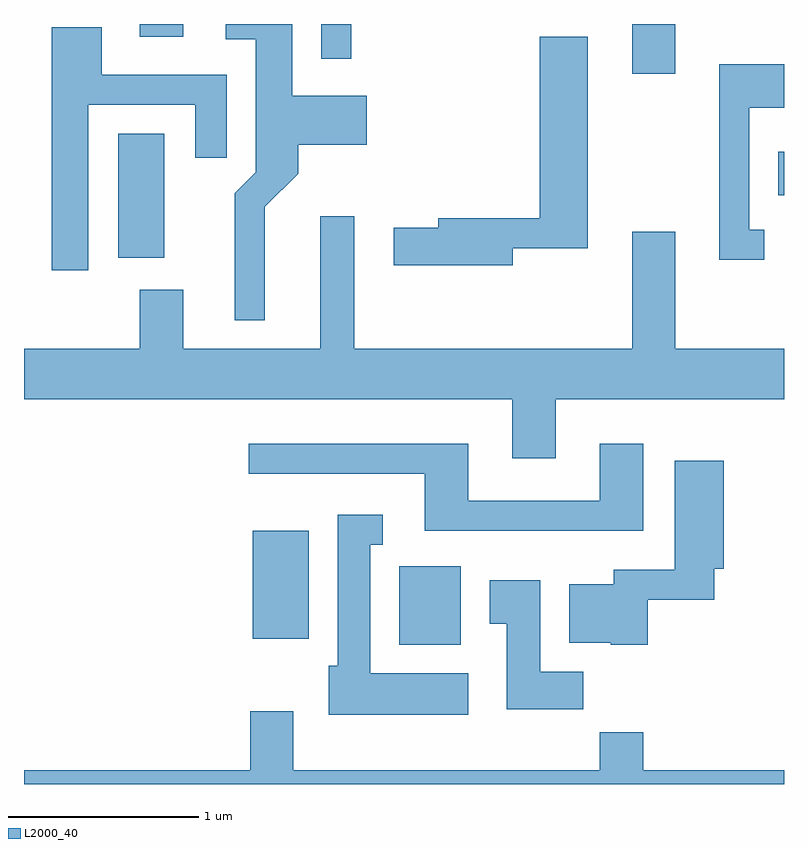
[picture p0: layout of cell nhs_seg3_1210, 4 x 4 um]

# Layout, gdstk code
import gdstk
lib = gdstk.Library(unit=1e-6, precision=1e-09)
def R(c, l, rs):  # rectangles x0, y0, x1, y1
    for r in rs: c.add(gdstk.rectangle(r[:2], r[2:], *l))
def P(c, l, *ps):  # polygons
    for p in ps: c.add(gdstk.Polygon(p, *l))
L2000_40 = (2000, 40)

nhs_seg3_1210 = lib.new_cell('nhs_seg3_1210')
R(nhs_seg3_1210, L2000_40, [(221.586,1224.626,221.909,1225.039), (220.816,1224.656,221.109,1225.224), (220.106,1226.661,220.349,1227.314), (223.581,1226.991,223.611,1227.219), (222.811,1227.631,223.039,1227.892), (221.176,1227.708,221.334,1227.892), (220.221,1227.826,220.449,1227.892)])
P(nhs_seg3_1210, L2000_40, [(220.879,1226.929),(221.054,1227.104),(221.054,1227.256),(221.414,1227.256),(221.414,1227.514),(221.024,1227.514),(221.024,1227.892),(220.673,1227.892),(220.673,1227.811),(220.831,1227.811),(220.831,1227.112),(220.721,1227.002),(220.721,1226.333),(220.879,1226.333)],
  [(219.949,1227.466),(220.511,1227.466),(220.511,1227.188),(220.679,1227.188),(220.679,1227.624),(220.019,1227.624),(220.019,1227.874),(219.756,1227.874),(219.756,1226.596),(219.949,1226.596)],
  [(222.184,1226.711),(222.579,1226.711),(222.579,1227.824),(222.326,1227.824),(222.326,1226.869),(221.791,1226.869),(221.791,1226.819),(221.556,1226.819),(221.556,1226.621),(222.184,1226.621)],
  [(223.508,1226.809),(223.429,1226.809),(223.429,1227.451),(223.611,1227.451),(223.611,1227.679),(223.271,1227.679),(223.271,1226.651),(223.508,1226.651)],
  [(222.409,1225.916),(223.611,1225.916),(223.611,1226.184),(223.039,1226.184),(223.039,1226.799),(222.811,1226.799),(222.811,1226.184),(221.349,1226.184),(221.349,1226.879),(221.171,1226.879),(221.171,1226.184),(220.449,1226.184),(220.449,1226.494),(220.221,1226.494),(220.221,1226.184),(219.611,1226.184),(219.611,1225.916),(222.181,1225.916),(222.181,1225.606),(222.409,1225.606)],
  [(222.869,1225.684),(222.641,1225.684),(222.641,1225.384),(221.949,1225.384),(221.949,1225.684),(220.793,1225.684),(220.793,1225.526),(221.721,1225.526),(221.721,1225.226),(222.869,1225.226)],
  [(222.894,1224.861),(223.244,1224.861),(223.244,1225.026),(223.294,1225.026),(223.294,1225.594),(223.036,1225.594),(223.036,1225.019),(222.716,1225.019),(222.716,1224.944),(222.481,1224.944),(222.481,1224.636),(222.7,1224.636),(222.7,1224.626),(222.894,1224.626)],
  [(221.949,1224.474),(221.434,1224.474),(221.434,1225.151),(221.498,1225.151),(221.498,1225.309),(221.261,1225.309),(221.261,1224.514),(221.216,1224.514),(221.216,1224.256),(221.949,1224.256)],
  [(222.554,1224.484),(222.329,1224.484),(222.329,1224.964),(222.061,1224.964),(222.061,1224.736),(222.151,1224.736),(222.151,1224.286),(222.554,1224.286)],
  [(223.611,1223.964),(222.869,1223.964),(222.869,1224.164),(222.641,1224.164),(222.641,1223.964),(221.029,1223.964),(221.029,1224.274),(220.801,1224.274),(220.801,1223.964),(219.611,1223.964),(219.611,1223.892),(223.611,1223.892)])

lib.write_gds('nhs_seg3_1210.gds')
